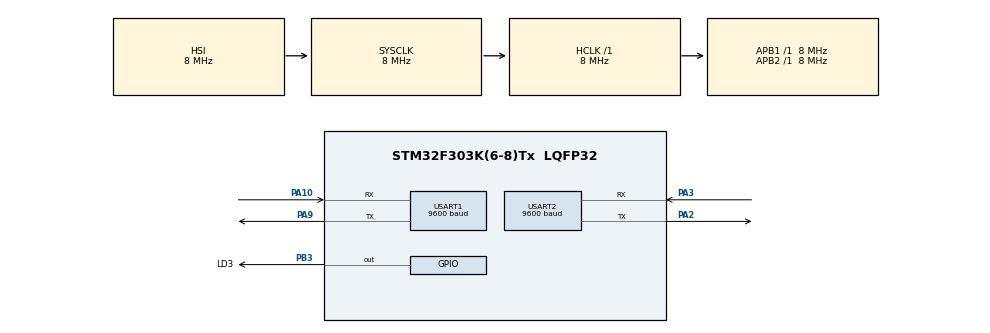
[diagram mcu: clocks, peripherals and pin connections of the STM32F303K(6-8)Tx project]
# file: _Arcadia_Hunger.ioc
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FREERTOS.Queues01=UART1Queue,16,uint8_t,0,Dynamic,NULL,NULL;UART2Queue,16,uint8_t,0,Dynamic,NULL,NULL
FREERTOS.Tasks01=defaultTask,0,256,StartDefaultTask,Default,NULL,Dynamic,NULL,NULL
FREERTOS.configTOTAL_HEAP_SIZE=4096
Mcu.Family=STM32F3
Mcu.Name=STM32F303K(6-8)Tx
Mcu.Package=LQFP32
NVIC.PriorityGroup=NVIC_PRIORITYGROUP_4
NVIC.TIM1_UP_TIM16_IRQn=true\:0\:0\:false\:false\:true\:false\:false
NVIC.TimeBase=TIM1_UP_TIM16_IRQn
NVIC.TimeBaseIP=TIM1
NVIC.USART1_IRQn=true\:5\:0\:false\:false\:true\:true\:true
NVIC.USART2_IRQn=true\:5\:0\:false\:false\:true\:true\:true
PA10.GPIO_ModeDefaultPP=GPIO_MODE_AF_PP
PA10.GPIO_PuPd=GPIO_NOPULL
PA10.GPIO_Speed=GPIO_SPEED_FREQ_HIGH
PA10.Mode=Asynchronous
PA10.Signal=USART1_RX
PA2.Mode=Asynchronous
PA2.Signal=USART2_TX
PA3.Mode=Asynchronous
PA3.Signal=USART2_RX
PA9.Mode=Asynchronous
PA9.Signal=USART1_TX
PB3.GPIO_Label=LD3
PB3.GPIO_ModeDefaultOutputPP=GPIO_MODE_OUTPUT_PP
PB3.GPIO_PuPd=GPIO_NOPULL
PB3.GPIO_Speed=GPIO_SPEED_FREQ_LOW
PB3.PinState=GPIO_PIN_RESET
PB3.Signal=GPIO_Output
ProjectManager.HeapSize=0x200
ProjectManager.StackSize=0x400
ProjectManager.TargetToolchain=TrueSTUDIO
RCC.AHBFreq_Value=8000000
RCC.APB1Freq_Value=8000000
RCC.APB2Freq_Value=8000000
RCC.CortexFreq_Value=8000000
RCC.HSE_VALUE=8000000
RCC.HSI_VALUE=8000000
RCC.SYSCLKFreq_VALUE=8000000
USART1.BaudRate=9600
USART1.VirtualMode-Asynchronous=VM_ASYNC
USART1.WordLength=WORDLENGTH_8B
USART2.BaudRate=9600
USART2.VirtualMode-Asynchronous=VM_ASYNC
USART2.WordLength=WORDLENGTH_8B
VP_FREERTOS_VS_ENABLE.Mode=Enabled
VP_SYS_VS_tim1.Mode=TIM1
board=NUCLEO-F303K8

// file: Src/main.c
/**
  ******************************************************************************
  * @file           : main.c
  * @brief          : Main program body
  ******************************************************************************
  * This notice applies to any and all portions of this file
  * that are not between comment pairs USER CODE BEGIN and
  * USER CODE END. Other portions of this file, whether
  * inserted by the user or by software development tools
  * are owned by their respective copyright owners.
  *
  * Copyright (c) 2018 STMicroelectronics International N.V.
  * All rights reserved.
  *
  * Redistribution and use in source and binary forms, with or without
  * modification, are permitted, provided that the following conditions are met:
  *
  * 1. Redistribution of source code must retain the above copyright notice,
  *    this list of conditions and the following disclaimer.
  * 2. Redistributions in binary form must reproduce the above copyright notice,
  *    this list of conditions and the following disclaimer in the documentation
  *    and/or other materials provided with the distribution.
  * 3. Neither the name of STMicroelectronics nor the names of other
  *    contributors to this software may be used to endorse or promote products
  *    derived from this software without specific written permission.
  * 4. This software, including modifications and/or derivative works of this
  *    software, must execute solely and exclusively on microcontroller or
  *    microprocessor devices manufactured by or for STMicroelectronics.
  * 5. Redistribution and use of this software other than as permitted under
  *    this license is void and will automatically terminate your rights under
  *    this license.
  *
  * THIS SOFTWARE IS PROVIDED BY STMICROELECTRONICS AND CONTRIBUTORS "AS IS"
  * AND ANY EXPRESS, IMPLIED OR STATUTORY WARRANTIES, INCLUDING, BUT NOT
  * LIMITED TO, THE IMPLIED WARRANTIES OF MERCHANTABILITY, FITNESS FOR A
  * PARTICULAR PURPOSE AND NON-INFRINGEMENT OF THIRD PARTY INTELLECTUAL PROPERTY
  * RIGHTS ARE DISCLAIMED TO THE FULLEST EXTENT PERMITTED BY LAW. IN NO EVENT
  * SHALL STMICROELECTRONICS OR CONTRIBUTORS BE LIABLE FOR ANY DIRECT, INDIRECT,
  * INCIDENTAL, SPECIAL, EXEMPLARY, OR CONSEQUENTIAL DAMAGES (INCLUDING, BUT NOT
  * LIMITED TO, PROCUREMENT OF SUBSTITUTE GOODS OR SERVICES; LOSS OF USE, DATA,
  * OR PROFITS; OR BUSINESS INTERRUPTION) HOWEVER CAUSED AND ON ANY THEORY OF
  * LIABILITY, WHETHER IN CONTRACT, STRICT LIABILITY, OR TORT (INCLUDING
  * NEGLIGENCE OR OTHERWISE) ARISING IN ANY WAY OUT OF THE USE OF THIS SOFTWARE,
  * EVEN IF ADVISED OF THE POSSIBILITY OF SUCH DAMAGE.
  *
  ******************************************************************************
  */
#include "main.h"
#include "stm32f3xx_hal.h"
#include "cmsis_os.h"

/* USER CODE BEGIN Includes */
#include "stdlib.h"
#include "stdio.h"
#include "string.h"
/* USER CODE END Includes */

UART_HandleTypeDef huart1;
UART_HandleTypeDef huart2;

osThreadId defaultTaskHandle;
osMessageQId UART1QueueHandle;
osMessageQId UART2QueueHandle;

/* USER CODE BEGIN PV */
/* Private variables ---------------------------------------------------------*/
#define TXRXBUFFERSIZE	100
#define TRUE			1
#define FALSE			0
#define VERBOSE			TRUE

char* generalBuffer;

struct MSG {
	uint8_t type;
	uint8_t ID;
	uint8_t sign;
	uint32_t value;
};
/* USER CODE END PV */

void SystemClock_Config(void);
static void MX_GPIO_Init(void);
static void MX_USART1_UART_Init(void);
static void MX_USART2_UART_Init(void);
void StartDefaultTask(void const * argument);

/* USER CODE BEGIN PFP */
/* Private function prototypes -----------------------------------------------*/
void transmit(int, char*);
void toMsg(char*, char*);

void HAL_UART_RxCpltCallback(UART_HandleTypeDef *huart);
/* USER CODE END PFP */

int main(void)
{
  /* USER CODE BEGIN 1 */
	generalBuffer = (char*) malloc(sizeof(char) * TXRXBUFFERSIZE);
  /* USER CODE END 1 */

  /* MCU Configuration----------------------------------------------------------*/

  /* Reset of all peripherals, Initializes the Flash interface and the Systick. */
  HAL_Init();

  /* Configure the system clock */
  SystemClock_Config();

  /* Initialize all configured peripherals */
  MX_GPIO_Init();
  MX_USART1_UART_Init();
  MX_USART2_UART_Init();

  /* Create the thread(s) */
  /* definition and creation of defaultTask */
  osThreadDef(defaultTask, StartDefaultTask, osPriorityNormal, 0, 256);
  defaultTaskHandle = osThreadCreate(osThread(defaultTask), NULL);

  /* Create the queue(s) */
  /* definition and creation of UART1Queue */
  osMessageQDef(UART1Queue, 16, uint8_t);
  UART1QueueHandle = osMessageCreate(osMessageQ(UART1Queue), NULL);

  /* definition and creation of UART2Queue */
  osMessageQDef(UART2Queue, 16, uint8_t);
  UART2QueueHandle = osMessageCreate(osMessageQ(UART2Queue), NULL);

  /* USER CODE BEGIN RTOS_QUEUES */
	/* add queues, ... */

	toMsg(generalBuffer, "\n\r\n\r/* Start scheduler */\n\r\tUART 1\n\r\n\r");
	transmit(1, generalBuffer);
	toMsg(generalBuffer, "\n\r\n\r/* Start scheduler */\n\r\tUART 2\n\r\n\r");
	transmit(2, generalBuffer);
  /* USER CODE END RTOS_QUEUES */

  /* Start scheduler */
  osKernelStart();

  /* We should never get here as control is now taken by the scheduler */

  /* Infinite loop */
	while (1) {

	}

}

void SystemClock_Config(void)
{

  RCC_OscInitTypeDef RCC_OscInitStruct;
  RCC_ClkInitTypeDef RCC_ClkInitStruct;
  RCC_PeriphCLKInitTypeDef PeriphClkInit;

    /**Initializes the CPU, AHB and APB busses clocks
    */
  RCC_OscInitStruct.OscillatorType = RCC_OSCILLATORTYPE_HSI;
  RCC_OscInitStruct.HSIState = RCC_HSI_ON;
  RCC_OscInitStruct.HSICalibrationValue = 16;
  RCC_OscInitStruct.PLL.PLLState = RCC_PLL_NONE;
  if (HAL_RCC_OscConfig(&RCC_OscInitStruct) != HAL_OK)
  {
    _Error_Handler(__FILE__, __LINE__);
  }

    /**Initializes the CPU, AHB and APB busses clocks
    */
  RCC_ClkInitStruct.ClockType = RCC_CLOCKTYPE_HCLK|RCC_CLOCKTYPE_SYSCLK
                              |RCC_CLOCKTYPE_PCLK1|RCC_CLOCKTYPE_PCLK2;
  RCC_ClkInitStruct.SYSCLKSource = RCC_SYSCLKSOURCE_HSI;
  RCC_ClkInitStruct.AHBCLKDivider = RCC_SYSCLK_DIV1;
  RCC_ClkInitStruct.APB1CLKDivider = RCC_HCLK_DIV1;
  RCC_ClkInitStruct.APB2CLKDivider = RCC_HCLK_DIV1;

  if (HAL_RCC_ClockConfig(&RCC_ClkInitStruct, FLASH_LATENCY_0) != HAL_OK)
  {
    _Error_Handler(__FILE__, __LINE__);
  }

  PeriphClkInit.PeriphClockSelection = RCC_PERIPHCLK_USART1;
  PeriphClkInit.Usart1ClockSelection = RCC_USART1CLKSOURCE_PCLK1;
  if (HAL_RCCEx_PeriphCLKConfig(&PeriphClkInit) != HAL_OK)
  {
    _Error_Handler(__FILE__, __LINE__);
  }

    /**Configure the Systick interrupt time
    */
  HAL_SYSTICK_Config(HAL_RCC_GetHCLKFreq()/1000);

    /**Configure the Systick
    */
  HAL_SYSTICK_CLKSourceConfig(SYSTICK_CLKSOURCE_HCLK);

  /* SysTick_IRQn interrupt configuration */
  HAL_NVIC_SetPriority(SysTick_IRQn, 15, 0);
}

/* USART1 init function */
static void MX_USART1_UART_Init(void)
{

  huart1.Instance = USART1;
  huart1.Init.BaudRate = 9600;
  huart1.Init.WordLength = UART_WORDLENGTH_8B;
  huart1.Init.StopBits = UART_STOPBITS_1;
  huart1.Init.Parity = UART_PARITY_NONE;
  huart1.Init.Mode = UART_MODE_TX_RX;
  huart1.Init.HwFlowCtl = UART_HWCONTROL_NONE;
  huart1.Init.OverSampling = UART_OVERSAMPLING_16;
  huart1.Init.OneBitSampling = UART_ONE_BIT_SAMPLE_DISABLE;
  huart1.AdvancedInit.AdvFeatureInit = UART_ADVFEATURE_NO_INIT;
  if (HAL_UART_Init(&huart1) != HAL_OK)
  {
    _Error_Handler(__FILE__, __LINE__);
  }

}

/* USART2 init function */
static void MX_USART2_UART_Init(void)
{

  huart2.Instance = USART2;
  huart2.Init.BaudRate = 9600;
  huart2.Init.WordLength = UART_WORDLENGTH_8B;
  huart2.Init.StopBits = UART_STOPBITS_1;
  huart2.Init.Parity = UART_PARITY_NONE;
  huart2.Init.Mode = UART_MODE_TX_RX;
  huart2.Init.HwFlowCtl = UART_HWCONTROL_NONE;
  huart2.Init.OverSampling = UART_OVERSAMPLING_16;
  huart2.Init.OneBitSampling = UART_ONE_BIT_SAMPLE_DISABLE;
  huart2.AdvancedInit.AdvFeatureInit = UART_ADVFEATURE_NO_INIT;
  if (HAL_UART_Init(&huart2) != HAL_OK)
  {
    _Error_Handler(__FILE__, __LINE__);
  }

}

/** Configure pins as
        * Analog
        * Input
        * Output
        * EVENT_OUT
        * EXTI
*/
static void MX_GPIO_Init(void)
{

  GPIO_InitTypeDef GPIO_InitStruct;

  /* GPIO Ports Clock Enable */
  __HAL_RCC_GPIOA_CLK_ENABLE();
  __HAL_RCC_GPIOB_CLK_ENABLE();

  /*Configure GPIO pin Output Level */
  HAL_GPIO_WritePin(LD3_GPIO_Port, LD3_Pin, GPIO_PIN_RESET);

  /*Configure GPIO pin : LD3_Pin */
  GPIO_InitStruct.Pin = LD3_Pin;
  GPIO_InitStruct.Mode = GPIO_MODE_OUTPUT_PP;
  GPIO_InitStruct.Pull = GPIO_NOPULL;
  GPIO_InitStruct.Speed = GPIO_SPEED_FREQ_LOW;
  HAL_GPIO_Init(LD3_GPIO_Port, &GPIO_InitStruct);

}

/* USER CODE BEGIN 4 */
void HAL_UART_RxCpltCallback(UART_HandleTypeDef *huart) {
	uint8_t byte1, byte2;
	//Check if UART1
	if (huart->Instance == USART1) {
		//Receive one byte
		HAL_UART_Receive_IT(&huart1, &byte1, 1);
		//Send byte to queue
		if (xQueueSendToBackFromISR(UART1QueueHandle, (void * ) &byte1,
				NULL) != pdTRUE) {
			Error_Handler();
		}
	}
	//Check if UART2
	if (huart->Instance == USART2) {
		//Receive one byte
		HAL_UART_Receive_IT(&huart2, &byte2, 1);
		//Send byte to queue
		if (xQueueSendToBackFromISR(UART2QueueHandle, (void * ) &byte2,
				NULL) != pdTRUE) {
			Error_Handler();
		}
	}
	toMsg(generalBuffer, ">");
	transmit(1, generalBuffer);
	transmit(2, generalBuffer);
}

void transmit(int channel, char* b) {
	UART_HandleTypeDef c;
	if (channel == 1) {
		c = huart1;
	} else {
		c = huart2;
	}

	if (HAL_UART_Transmit(&c, (uint8_t*) b,
	TXRXBUFFERSIZE, 1000) != HAL_OK) {
		Error_Handler();
	}
}

void toMsg(char* b, char* msg) {
	memset(b, 0, TXRXBUFFERSIZE);
	sprintf(b, msg);
	return;
}
/* USER CODE END 4 */

/* StartDefaultTask function */
void StartDefaultTask(void const * argument)
{

  /* USER CODE BEGIN 5 */
	uint8_t byte;
	HAL_UART_Receive_IT(&huart1, &byte, 1);
	HAL_UART_Receive_IT(&huart2, &byte, 1);

	/* Infinite loop */
	for (;;) {
		osDelay(100);
		HAL_GPIO_TogglePin(LD3_GPIO_Port, LD3_Pin);
		toMsg(generalBuffer, "+");
		transmit(1, generalBuffer);
		transmit(2, generalBuffer);

		if (uxQueueMessagesWaiting(UART1QueueHandle) > 0) {
			while (uxQueueMessagesWaiting(UART1QueueHandle) > 0) {
				//Get messages from queue
				xQueueReceive(UART1QueueHandle, &(byte), (TickType_t ) 10);

				if (VERBOSE) {
					memset(generalBuffer, 0, TXRXBUFFERSIZE);
					sprintf(generalBuffer, "\n\rGOT: |%c|%d|)", byte, byte);
					transmit(1, generalBuffer);
					transmit(2, generalBuffer);
				}
			}
		}

		if (uxQueueMessagesWaiting(UART2QueueHandle) > 0) {
			while (uxQueueMessagesWaiting(UART2QueueHandle) > 0) {
				//Get messages from queue
				xQueueReceive(UART2QueueHandle, &(byte), (TickType_t ) 10);

				if (VERBOSE) {
					memset(generalBuffer, 0, TXRXBUFFERSIZE);
					sprintf(generalBuffer, "\n\rGOT: |%c|%d|)", byte, byte);
					transmit(1, generalBuffer);
					transmit(2, generalBuffer);
				}
			}
		}
	}
  /* USER CODE END 5 */
}

void HAL_TIM_PeriodElapsedCallback(TIM_HandleTypeDef *htim)
{
  if (htim->Instance == TIM1) {
    HAL_IncTick();
  }
}

void _Error_Handler(char *file, int line)
{
  /* USER CODE BEGIN Error_Handler_Debug */
	/* User can add his own implementation to report the HAL error return state */
	while (1) {
		HAL_GPIO_TogglePin(LD3_GPIO_Port, LD3_Pin);
		osDelay(1000);
	}
  /* USER CODE END Error_Handler_Debug */
}

/************************ (C) COPYRIGHT STMicroelectronics *****END OF FILE****/
